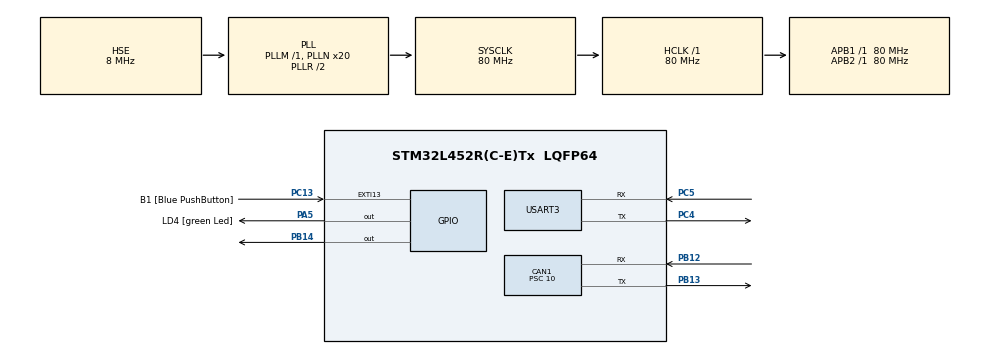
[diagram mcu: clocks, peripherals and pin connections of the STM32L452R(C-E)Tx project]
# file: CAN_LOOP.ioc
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Mcu.Family=STM32L4
PA2.GPIO_PuPd=GPIO_NOPULL
RCC.CortexFreq_Value=80000000
PH0-OSC_IN\ (PH0).Signal=RCC_OSC_IN
PA3.GPIO_PuPd=GPIO_NOPULL
PA2.GPIO_Speed=GPIO_SPEED_FREQ_VERY_HIGH
USART3.SwapParam=ADVFEATURE_SWAP_ENABLE
PC5.Mode=Asynchronous
PC13.GPIO_Label=B1 [Blue PushButton]
PA3.GPIO_Speed=GPIO_SPEED_FREQ_VERY_HIGH
PB13.Signal=CAN1_TX
RCC.SYSCLKSource=RCC_SYSCLKSOURCE_PLLCLK
ProjectManager.StackSize=0x400
USART3.VirtualMode-Asynchronous=VM_ASYNC
PA14\ (JTCK/SWCLK).Signal=SYS_JTCK-SWCLK
RCC.HCLKFreq_Value=80000000
RCC.APB2TimFreq_Value=80000000
RCC.AHBFreq_Value=80000000
RCC.PREFETCH_ENABLE=1
PH1-OSC_OUT\ (PH1).Mode=HSE-External-Oscillator
RCC.HSE_VALUE=8000000
PA13\ (JTMS/SWDIO).GPIO_Label=TMS
PA5.GPIO_PuPd=GPIO_NOPULL
PC13.GPIO_PuPd=GPIO_NOPULL
PA14\ (JTCK/SWCLK).Mode=Serial_Wire
CAN1.Prescaler=10
Mcu.Package=LQFP64
PB12.Mode=CAN_Activate
PA2.GPIO_Label=USART_TX
PA14\ (JTCK/SWCLK).GPIO_Label=TCK
RCC.APB1TimFreq_Value=80000000
PC5.Signal=USART3_RX
PB13.Mode=CAN_Activate
CAN1.CalculateTimeBit=2000.00
PH0-OSC_IN\ (PH0).Mode=HSE-External-Oscillator
PC4.Mode=Asynchronous
RCC.HSI48_VALUE=48000000
PA3.Signal=USART2_RX
CAN1.CalculateTimeQuantum=125.0
PA2.GPIO_Mode=GPIO_MODE_AF_PP
PB3\ (JTDO/TRACESWO).GPIO_Label=SWO
RCC.MSI_VALUE=4000000
RCC.PLLSourceVirtual=RCC_PLLSOURCE_HSE
PA13\ (JTMS/SWDIO).Mode=Serial_Wire
PC13.Signal=GPXTI13
CAN1.CalculateBaudRate=500000
PC4.Signal=USART3_TX
PC15-OSC32_OUT\ (PC15).Signal=RCC_OSC32_OUT
PH1-OSC_OUT\ (PH1).Signal=RCC_OSC_OUT
CAN1.BS2=CAN_BS2_2TQ
PB3\ (JTDO/TRACESWO).Signal=SYS_JTDO-SWO
CAN1.BS1=CAN_BS1_13TQ
ProjectManager.TargetToolchain=STM32CubeIDE
PA3.GPIO_Mode=GPIO_MODE_AF_PP
RCC.USBFreq_Value=32000000
RCC.LSE_VALUE=32768
PB14.Signal=GPIO_Output
PA5.Signal=GPIO_Output
board=NUCLEO-L452RE
RCC.VCOOutputFreq_Value=160000000
RCC.APB2Freq_Value=80000000
PA5.GPIO_ModeDefaultOutputPP=GPIO_MODE_OUTPUT_PP
CAN1.Mode=CAN_MODE_LOOPBACK
RCC.ADCFreq_Value=32000000
Mcu.Name=STM32L452R(C-E)Tx
PA2.Signal=USART2_TX
RCC.SYSCLKFreq_VALUE=80000000
PA5.GPIO_Label=LD4 [green Led]
PC13.GPIO_ModeDefaultEXTI=GPIO_MODE_IT_FALLING
PC14-OSC32_IN\ (PC14).Signal=RCC_OSC32_IN
ProjectManager.HeapSize=0x200
RCC.HSI_VALUE=16000000
PA5.GPIO_Speed=GPIO_SPEED_FREQ_LOW
NVIC.PriorityGroup=NVIC_PRIORITYGROUP_4
RCC.PLLN=20
RCC.APB1Freq_Value=80000000
PB12.Signal=CAN1_RX
PA13\ (JTMS/SWDIO).Signal=SYS_JTMS-SWDIO
PA3.GPIO_Label=USART_RX

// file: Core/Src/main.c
/* USER CODE BEGIN Header */
/**
  ******************************************************************************
  * @file           : main.c
  * @brief          : Main program body
  ******************************************************************************
  * @attention
  *
  * <h2><center>&copy; Copyright (c) 2021 STMicroelectronics.
  * All rights reserved.</center></h2>
  *
  * This software component is licensed by ST under BSD 3-Clause license,
  * the "License"; You may not use this file except in compliance with the
  * License. You may obtain a copy of the License at:
  *                        opensource.org/licenses/BSD-3-Clause
  *
  ******************************************************************************
  */
/* USER CODE END Header */
#include "main.h"

CAN_HandleTypeDef hcan1;

UART_HandleTypeDef huart3;

/* USER CODE BEGIN PV */
CAN_FilterTypeDef fil;
CAN_TxHeaderTypeDef txhead;
CAN_RxHeaderTypeDef rxhead;

/* USER CODE END PV */

void SystemClock_Config(void);
static void MX_GPIO_Init(void);
static void MX_CAN1_Init(void);
static void MX_USART3_UART_Init(void);

/* USER CODE BEGIN 0 */
void can_fil_config()
{
	 fil.FilterIdHigh=0x0000;
	  	fil.FilterIdLow=0x0000;
	  	fil.FilterMaskIdHigh=0x0000;
	  	fil.FilterMaskIdLow=0x0000;
	  	fil.FilterFIFOAssignment=0;
	  	fil.FilterBank=0;
	  	fil.FilterMode=CAN_FILTERMODE_IDMASK;
	  	fil.FilterScale=CAN_FILTERSCALE_32BIT;
	  	fil.FilterActivation=CAN_FILTER_ENABLE;
	  	fil.SlaveStartFilterBank=0;

	  	if (HAL_CAN_ConfigFilter(&hcan1, &fil) != HAL_OK)
	  		    {
	  		        /* Filter configuration Error */
	  		        HAL_UART_Transmit(&huart3,"error in configfil\n\r", 20, 1000);
	  		        Error_Handler();
	  		    }

}
void can_tx()
{

	uint8_t message[5]="SHALU";
	uint32_t mailbox;
	txhead.StdId=0xFF;
	txhead.IDE=CAN_ID_STD;
	txhead.RTR=CAN_RTR_DATA;
	txhead.DLC=5;

	 HAL_CAN_AddTxMessage(&hcan1,&txhead, message, &mailbox);

}
void can_rx()
{
	uint8_t arr[10]={0};

	while(!(HAL_CAN_GetRxFifoFillLevel(&hcan1, CAN_RX_FIFO0)));
    if (HAL_CAN_GetRxMessage(&hcan1, CAN_RX_FIFO0,&rxhead, arr) != HAL_OK)
      {

    	HAL_UART_Transmit(&huart3,"error in reception\n\r", 20, 1000);
    	HAL_UART_Transmit(&huart3,arr,10 ,1000);
    	Error_Handler();
      }

   HAL_UART_Transmit(&huart3,arr,10, 1000);

}

/* USER CODE END 0 */

int main(void)
{

  /* MCU Configuration--------------------------------------------------------*/

  /* Reset of all peripherals, Initializes the Flash interface and the Systick. */
  HAL_Init();

  /* Configure the system clock */
  SystemClock_Config();

  /* Initialize all configured peripherals */
  MX_GPIO_Init();
  MX_CAN1_Init();
  MX_USART3_UART_Init();
  /* USER CODE BEGIN 2 */
  can_fil_config();
  if(HAL_CAN_Start(&hcan1)!=HAL_OK)
  {
	  HAL_UART_Transmit(&huart3,"error in can_start\n\r", 20, 1000);
	  Error_Handler();

  }
  HAL_UART_Transmit(&huart3,"can in loop_back\n\r", 20, 1000);
HAL_GPIO_WritePin(GPIOB,GPIO_PIN_14,0);
can_tx();
can_rx();
  /* USER CODE END 2 */

  /* Infinite loop */
  while (1)
  {

  }
}

void SystemClock_Config(void)
{
  RCC_OscInitTypeDef RCC_OscInitStruct = {0};
  RCC_ClkInitTypeDef RCC_ClkInitStruct = {0};
  RCC_PeriphCLKInitTypeDef PeriphClkInit = {0};

  /** Initializes the RCC Oscillators according to the specified parameters
  * in the RCC_OscInitTypeDef structure.
  */
  RCC_OscInitStruct.OscillatorType = RCC_OSCILLATORTYPE_HSE;
  RCC_OscInitStruct.HSEState = RCC_HSE_ON;
  RCC_OscInitStruct.PLL.PLLState = RCC_PLL_ON;
  RCC_OscInitStruct.PLL.PLLSource = RCC_PLLSOURCE_HSE;
  RCC_OscInitStruct.PLL.PLLM = 1;
  RCC_OscInitStruct.PLL.PLLN = 20;
  RCC_OscInitStruct.PLL.PLLP = RCC_PLLP_DIV7;
  RCC_OscInitStruct.PLL.PLLQ = RCC_PLLQ_DIV2;
  RCC_OscInitStruct.PLL.PLLR = RCC_PLLR_DIV2;
  if (HAL_RCC_OscConfig(&RCC_OscInitStruct) != HAL_OK)
  {
    Error_Handler();
  }
  /** Initializes the CPU, AHB and APB buses clocks
  */
  RCC_ClkInitStruct.ClockType = RCC_CLOCKTYPE_HCLK|RCC_CLOCKTYPE_SYSCLK
                              |RCC_CLOCKTYPE_PCLK1|RCC_CLOCKTYPE_PCLK2;
  RCC_ClkInitStruct.SYSCLKSource = RCC_SYSCLKSOURCE_PLLCLK;
  RCC_ClkInitStruct.AHBCLKDivider = RCC_SYSCLK_DIV1;
  RCC_ClkInitStruct.APB1CLKDivider = RCC_HCLK_DIV1;
  RCC_ClkInitStruct.APB2CLKDivider = RCC_HCLK_DIV1;

  if (HAL_RCC_ClockConfig(&RCC_ClkInitStruct, FLASH_LATENCY_4) != HAL_OK)
  {
    Error_Handler();
  }
  PeriphClkInit.PeriphClockSelection = RCC_PERIPHCLK_USART3;
  PeriphClkInit.Usart3ClockSelection = RCC_USART3CLKSOURCE_PCLK1;
  if (HAL_RCCEx_PeriphCLKConfig(&PeriphClkInit) != HAL_OK)
  {
    Error_Handler();
  }
  /** Configure the main internal regulator output voltage
  */
  if (HAL_PWREx_ControlVoltageScaling(PWR_REGULATOR_VOLTAGE_SCALE1) != HAL_OK)
  {
    Error_Handler();
  }
}

static void MX_CAN1_Init(void)
{

  hcan1.Instance = CAN1;
  hcan1.Init.Prescaler = 10;
  hcan1.Init.Mode = CAN_MODE_LOOPBACK;
  hcan1.Init.SyncJumpWidth = CAN_SJW_1TQ;
  hcan1.Init.TimeSeg1 = CAN_BS1_13TQ;
  hcan1.Init.TimeSeg2 = CAN_BS2_2TQ;
  hcan1.Init.TimeTriggeredMode = DISABLE;
  hcan1.Init.AutoBusOff = DISABLE;
  hcan1.Init.AutoWakeUp = DISABLE;
  hcan1.Init.AutoRetransmission = DISABLE;
  hcan1.Init.ReceiveFifoLocked = DISABLE;
  hcan1.Init.TransmitFifoPriority = DISABLE;
  if (HAL_CAN_Init(&hcan1) != HAL_OK)
  {
    Error_Handler();
  }

}

static void MX_USART3_UART_Init(void)
{

  huart3.Instance = USART3;
  huart3.Init.BaudRate = 115200;
  huart3.Init.WordLength = UART_WORDLENGTH_8B;
  huart3.Init.StopBits = UART_STOPBITS_1;
  huart3.Init.Parity = UART_PARITY_NONE;
  huart3.Init.Mode = UART_MODE_TX_RX;
  huart3.Init.HwFlowCtl = UART_HWCONTROL_NONE;
  huart3.Init.OverSampling = UART_OVERSAMPLING_16;
  huart3.Init.OneBitSampling = UART_ONE_BIT_SAMPLE_DISABLE;
  huart3.AdvancedInit.AdvFeatureInit = UART_ADVFEATURE_SWAP_INIT;
  huart3.AdvancedInit.Swap = UART_ADVFEATURE_SWAP_ENABLE;
  if (HAL_UART_Init(&huart3) != HAL_OK)
  {
    Error_Handler();
  }

}

static void MX_GPIO_Init(void)
{
  GPIO_InitTypeDef GPIO_InitStruct = {0};

  /* GPIO Ports Clock Enable */
  __HAL_RCC_GPIOC_CLK_ENABLE();
  __HAL_RCC_GPIOH_CLK_ENABLE();
  __HAL_RCC_GPIOA_CLK_ENABLE();
  __HAL_RCC_GPIOB_CLK_ENABLE();

  /*Configure GPIO pin Output Level */
  HAL_GPIO_WritePin(LD4_GPIO_Port, LD4_Pin, GPIO_PIN_RESET);

  /*Configure GPIO pin Output Level */
  HAL_GPIO_WritePin(GPIOB, GPIO_PIN_14, GPIO_PIN_RESET);

  /*Configure GPIO pin : B1_Pin */
  GPIO_InitStruct.Pin = B1_Pin;
  GPIO_InitStruct.Mode = GPIO_MODE_IT_FALLING;
  GPIO_InitStruct.Pull = GPIO_NOPULL;
  HAL_GPIO_Init(B1_GPIO_Port, &GPIO_InitStruct);

  /*Configure GPIO pins : USART_TX_Pin USART_RX_Pin */
  GPIO_InitStruct.Pin = USART_TX_Pin|USART_RX_Pin;
  GPIO_InitStruct.Mode = GPIO_MODE_AF_PP;
  GPIO_InitStruct.Pull = GPIO_NOPULL;
  GPIO_InitStruct.Speed = GPIO_SPEED_FREQ_VERY_HIGH;
  GPIO_InitStruct.Alternate = GPIO_AF7_USART2;
  HAL_GPIO_Init(GPIOA, &GPIO_InitStruct);

  /*Configure GPIO pin : LD4_Pin */
  GPIO_InitStruct.Pin = LD4_Pin;
  GPIO_InitStruct.Mode = GPIO_MODE_OUTPUT_PP;
  GPIO_InitStruct.Pull = GPIO_NOPULL;
  GPIO_InitStruct.Speed = GPIO_SPEED_FREQ_LOW;
  HAL_GPIO_Init(LD4_GPIO_Port, &GPIO_InitStruct);

  /*Configure GPIO pin : PB14 */
  GPIO_InitStruct.Pin = GPIO_PIN_14;
  GPIO_InitStruct.Mode = GPIO_MODE_OUTPUT_PP;
  GPIO_InitStruct.Pull = GPIO_NOPULL;
  GPIO_InitStruct.Speed = GPIO_SPEED_FREQ_LOW;
  HAL_GPIO_Init(GPIOB, &GPIO_InitStruct);

}

void Error_Handler(void)
{
  __disable_irq();
  while (1)
  {
  }
}

/************************ (C) COPYRIGHT STMicroelectronics *****END OF FILE****/
